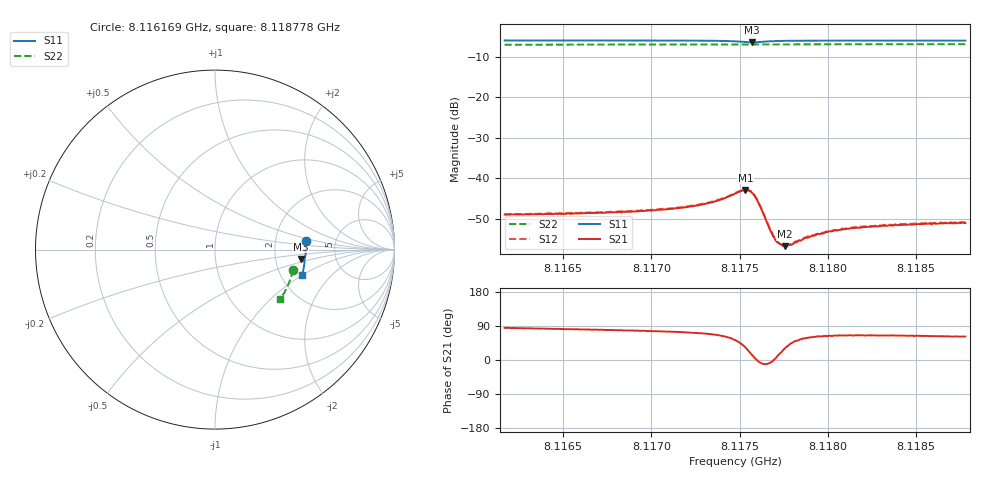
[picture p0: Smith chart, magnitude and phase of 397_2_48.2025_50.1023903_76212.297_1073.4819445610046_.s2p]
#  HZ  S  RI  R  50.00
! Rohde & Schwarz Vector Network Analyzer
! Rohde-Schwarz,ZNB20-2Port,1311601062101988,3.16
! Created: UTC 3/20/2024, 11:53:52 AM
! freq[Hz]  re:S11  im:S11  re:S21  im:S21  re:S12  im:S12  re:S22  im:S22
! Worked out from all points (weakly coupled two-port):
!   401 points, 8.116169 GHz to 8.118778 GHz, reference 50 ohm
!   highest |S21| = -42.94 dB at 8.117532 GHz (marker M1); lowest = -56.9 dB at 8.117754 GHz (marker M2)
!   lowest |S11| = -6.4 dB at 8.117572 GHz (marker M3), VSWR 2.84, Z = 139 - j19 ohm
!   |S11| at or under -10 dB: nowhere
!   |S22| runs from -7.0 to -6.8 dB; largest |S21 - S12| = 0.00022
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8.1161694e9  0.5051 0.0456  0.000322 0.00353  0.000366 0.00361  0.4348 -0.1126
8.1166063e9  0.5062 0.0127  0.000577 0.00362  0.00067 0.00369  0.4274 -0.142
8.1170433e9  0.5052 -0.0213  0.00101 0.00394  0.00105 0.004  0.4178 -0.171
8.1171868e9  0.5037 -0.0331  0.00126 0.00416  0.00131 0.00421  0.4143 -0.1805
8.1172976e9  0.5019 -0.043  0.00164 0.00446  0.00172 0.00453  0.4114 -0.1877
8.1173954e9  0.4984 -0.0526  0.00238 0.00488  0.00246 0.00495  0.4086 -0.194
8.1174737e9  0.4912 -0.0605  0.00387 0.0051  0.00398 0.00516  0.406 -0.1991
8.1175324e9  0.4805 -0.0608  0.00596 0.00391  0.00607 0.00394  0.404 -0.2024
8.117552e9  0.4774 -0.0574  0.00642 0.00279  0.00659 0.00281  0.4032 -0.2035
8.1175715e9  0.4765 -0.0525  0.00636 0.00144  0.00657 0.00141  0.4027 -0.2044
8.1175846e9  0.4777 -0.0494  0.00599 0.000593  0.00614 0.000548  0.4024 -0.2052
8.1176041e9  0.4811 -0.0462  0.00507 -0.000258  0.00518 -0.000274  0.4021 -0.2062
8.1176693e9  0.4931 -0.0487  0.00234 -0.000328  0.00241 -0.000341  0.4008 -0.2102
8.1176954e9  0.4953 -0.0521  0.00183 4.07e-05  0.00187 -2.06e-05  0.4002 -0.2121
8.1177215e9  0.4969 -0.0552  0.00152 0.000372  0.00153 0.000382  0.3994 -0.2139
8.1177541e9  0.498 -0.0591  0.00125 0.000709  0.00127 0.000739  0.3985 -0.216
8.1177867e9  0.4987 -0.0627  0.00111 0.00103  0.00114 0.000997  0.3975 -0.2181
8.1179106e9  0.4985 -0.0747  0.000964 0.00168  0.000998 0.00169  0.3935 -0.2259
8.1180019e9  0.4978 -0.0826  0.000971 0.00196  0.00099 0.00198  0.3906 -0.2316
8.1180932e9  0.4966 -0.0901  0.000995 0.00212  0.001 0.00214  0.3875 -0.2371
8.1183476e9  0.4927 -0.1095  0.00112 0.00237  0.00115 0.00239  0.3785 -0.2528
8.118778e9  0.4843 -0.1411  0.00131 0.00245  0.00138 0.00253  0.362 -0.2779
